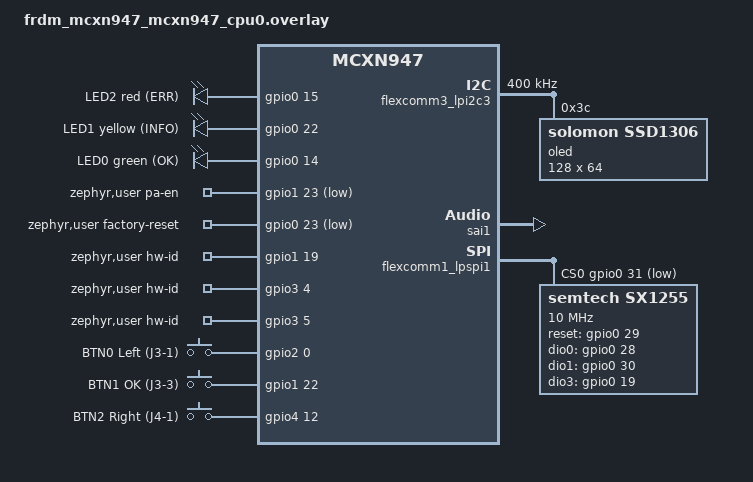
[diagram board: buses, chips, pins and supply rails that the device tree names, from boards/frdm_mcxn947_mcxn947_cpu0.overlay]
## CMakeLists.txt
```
# SPDX-License-Identifier: MIT
# Copyright (c) 2026 Phenix-1255 contributors

cmake_minimum_required(VERSION 3.20.0)

find_package(Zephyr REQUIRED HINTS $ENV{ZEPHYR_BASE})
project(phenix_1255_firmware LANGUAGES C)

# Module headers are included with their folder, e.g. "stream/stream.h"
target_include_directories(app PRIVATE
  ${CMAKE_CURRENT_SOURCE_DIR}/src
  ${CMAKE_CURRENT_SOURCE_DIR}/../common/include
)

target_sources(app PRIVATE
  src/main.c
  src/board/board_io.c
  src/board/hw_id.c
  src/board/watchdog.c
  src/config/config_store.c
  src/control/control.c
  src/display/display_fb.c
  src/display/display_ui.c
  src/display/splash_logo.c
  src/ethernet/net_config.c
  src/ethernet/transport_eth.c
  src/ethernet/web_ui.c
  src/radio/gain_ctrl.c
  src/radio/sx1255.c
  src/shell/shell_commands.c
  src/stream/sample_io.c
  src/stream/stream.c
  src/usb/transport_usb.c
)

# SRAM A..H holds the DMA buffers (SAI, Ethernet, USB) and the network
# stack. Buffers and thread stacks that only the CPU accesses are moved to
# SRAMX (96 KB, otherwise unused) to make room for the USB stack. None of
# these files may contain DMA buffers.
# The relocation script finds the object by file name and parent folder name
# and may pick a Zephyr object instead (src/shell/shell_cmds.c matched
# subsys/shell/shell_cmds.c), so file names here must not exist in Zephyr.
zephyr_code_relocate(
  FILES
    src/display/display_fb.c
    src/display/display_ui.c
    src/ethernet/transport_eth.c
    src/ethernet/web_ui.c
    src/shell/shell_commands.c
    src/stream/sample_io.c
  LOCATION SRAMX_BSS_NOINIT
)

# SAI and eDMA are driven directly by the stream module. The MCUX HAL only
# builds these drivers together with the Zephyr I2S/DMA drivers, which are
# not used here, so the HAL sources are added to the application.
set(MCUX_DRIVERS ${ZEPHYR_HAL_NXP_MODULE_DIR}/mcux/mcux-sdk-ng/drivers)
target_include_directories(app PRIVATE
  ${MCUX_DRIVERS}/sai
  ${MCUX_DRIVERS}/edma4
)
target_sources(app PRIVATE
  ${MCUX_DRIVERS}/sai/fsl_sai.c
  ${MCUX_DRIVERS}/edma4/fsl_edma.c
)
```

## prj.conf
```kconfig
# SPDX-License-Identifier: MIT
# Copyright (c) 2026 Phenix-1255 contributors

# Console, shell and logging on the MCU-Link virtual COM port.
# Log output is routed through the shell backend.
CONFIG_CONSOLE=y
CONFIG_UART_CONSOLE=y
CONFIG_SHELL=y
CONFIG_LOG=y
CONFIG_LOG_MODE_DEFERRED=y
CONFIG_LOG_BACKEND_UART=n
CONFIG_LOG_DEFAULT_LEVEL=3

# Diagnostics
CONFIG_ASSERT=y
CONFIG_THREAD_NAME=y

# Board I/O
CONFIG_GPIO=y

# SX1255 configuration interface. Register transfers are a few bytes long,
# so the CPU-driven LPSPI driver is used and no DMA channels are occupied.
CONFIG_SPI=y
CONFIG_SPI_NXP_LPSPI_DMA=n

# Floating point for signal diagnostics (thread context only)
CONFIG_FPU=y
CONFIG_FPU_SHARING=y
CONFIG_CBPRINTF_FP_SUPPORT=y

# Software reset, used to apply a new configuration
CONFIG_REBOOT=y

# Hardware watchdog (WWDT0)
CONFIG_WATCHDOG=y

# Networking: IPv4 only, TCP control channel, UDP samples
CONFIG_NETWORKING=y
CONFIG_NET_IPV4=y
CONFIG_NET_IPV6=n
CONFIG_NET_TCP=y
CONFIG_NET_UDP=y
CONFIG_NET_SOCKETS=y
CONFIG_NET_DHCPV4=y
CONFIG_NET_MGMT=y
CONFIG_NET_MGMT_EVENT=y
CONFIG_NET_MGMT_EVENT_INFO=y
CONFIG_NET_IF_UNICAST_IPV4_ADDR_COUNT=2
CONFIG_NET_MAX_CONTEXTS=12
# Connection handlers: DHCP, mDNS, UDP samples, TCP listener, TCP session,
# web interface (listener and clients)
CONFIG_NET_MAX_CONN=12
CONFIG_ZVFS_OPEN_MAX=16

# Host name and mDNS responder: phenix-1255.local
CONFIG_NET_HOSTNAME_ENABLE=y
CONFIG_NET_HOSTNAME="phenix-1255"
CONFIG_MDNS_RESPONDER=y
CONFIG_DNS_RESOLVER=y

# Network buffers for 1472-byte sample packets in both directions.
# The ENET-QOS driver uses one net_buf of NET_BUF_DATA_SIZE per RX
# descriptor; with 1536 bytes every frame fits into one descriptor, so the
# 32 descriptors absorb a burst of 32 frames (about 4 ms at 100 Mbit/s).
CONFIG_NET_BUF_DATA_SIZE=1536
CONFIG_ETH_NXP_ENET_QOS_RX_BUFFER_DESCRIPTORS=32
CONFIG_ETH_NXP_ENET_QOS_TX_BUFFER_DESCRIPTORS=16
CONFIG_ETH_NXP_ENET_QOS_RX_THREAD_PRIORITY=1
CONFIG_NET_PKT_RX_COUNT=48
CONFIG_NET_PKT_TX_COUNT=24
CONFIG_NET_BUF_RX_COUNT=64
CONFIG_NET_BUF_TX_COUNT=24

# The network RX thread is preemptive and below the RX pump: a burst of
# incoming TX sample packets would otherwise keep the cooperative thread
# busy for longer than the RX ring holds (5.6 ms at 600 kS/s).
CONFIG_NET_TC_THREAD_PREEMPTIVE=y
CONFIG_NET_TC_THREAD_PRIO_CUSTOM=y
CONFIG_NET_TC_RX_THREAD_BASE_PRIO=5

# Diagnostics on the console (net iface, net ping, ...)
CONFIG_NET_SHELL=y

# Front panel: SSD1306 OLED on LPI2C3 and three buttons.
# Input callbacks run in the reporting driver's context, which saves the
# input thread and its stack.
CONFIG_I2C=y
CONFIG_DISPLAY=y
CONFIG_INPUT=y
CONFIG_INPUT_MODE_SYNCHRONOUS=y

# HS USB device (USB1, EHCI controller), vendor specific function
CONFIG_USB_DEVICE_STACK_NEXT=y
CONFIG_USBD_THREAD_STACK_SIZE=1536

# CPU-only buffers in SRAMX, see CMakeLists.txt
CONFIG_CODE_DATA_RELOCATION=y

# Unique ID for the device serial number
CONFIG_HWINFO=y

# Persistent configuration in the internal flash settings partition
CONFIG_FLASH=y
CONFIG_FLASH_MAP=y
CONFIG_NVS=y
CONFIG_SETTINGS=y
CONFIG_SETTINGS_NVS=y
```

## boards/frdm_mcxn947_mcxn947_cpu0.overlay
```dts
/*
 * SPDX-License-Identifier: MIT
 * Copyright (c) 2026 Phenix-1255 contributors
 *
 * phenix-1255-hw SX1255 board attached to the FRDM-MCXN947.
 */

#include <nxp/mcx/mcxn/pinctrl/MCXN947VDF-pinctrl.h>
#include <zephyr/dt-bindings/input/input-event-codes.h>

/ {
	chosen {
		zephyr,code-partition = &code_partition;
		zephyr,settings-partition = &settings_partition;
		zephyr,display = &oled;
		/* The second core is not used */
		/delete-property/ zephyr,code-cpu1-partition;
	};

	aliases {
		led-err = &led_err;
		led-info = &led_info;
		led-ok = &led_ok;
		/* Red LED on the FRDM-MCXN947 (P0_10), unsupported hardware */
		led-frdm-err = &red_led;
	};

	/* Status LEDs on the phenix-1255-hw board */
	phenix_leds {
		compatible = "gpio-leds";

		led_err: led_err {
			gpios = <&gpio0 15 GPIO_ACTIVE_HIGH>;
			label = "LED2 red (ERR)";
		};

		led_info: led_info {
			gpios = <&gpio0 22 GPIO_ACTIVE_HIGH>;
			label = "LED1 yellow (INFO)";
		};

		led_ok: led_ok {
			gpios = <&gpio0 14 GPIO_ACTIVE_HIGH>;
			label = "LED0 green (OK)";
		};
	};

	zephyr,user {
		/* Gate of the P-MOSFET switching VBAT3 to the SX1255 PA */
		pa-en-gpios = <&gpio1 23 GPIO_ACTIVE_LOW>;
		/* SW2, held during boot = factory reset */
		factory-reset-gpios = <&gpio0 23 (GPIO_ACTIVE_LOW | GPIO_PULL_UP)>;
		/*
		 * HW_ID0..HW_ID2: open on phenix-1255-hw, solder jumpers to +3V3
		 * on later boards; the internal pull-downs read open pins as 0.
		 */
		hw-id-gpios = <&gpio1 19 (GPIO_ACTIVE_HIGH | GPIO_PULL_DOWN)>,
			      <&gpio3 4 (GPIO_ACTIVE_HIGH | GPIO_PULL_DOWN)>,
			      <&gpio3 5 (GPIO_ACTIVE_HIGH | GPIO_PULL_DOWN)>;
	};

	/*
	 * Front panel buttons, switched to +3V3; the internal pull-downs keep
	 * open inputs low.
	 */
	phenix_keys {
		compatible = "gpio-keys";

		btn_left: btn_left {
			gpios = <&gpio2 0 (GPIO_ACTIVE_HIGH | GPIO_PULL_DOWN)>;
			zephyr,code = <INPUT_KEY_LEFT>;
			label = "BTN0 Left (J3-1)";
		};

		btn_ok: btn_ok {
			gpios = <&gpio1 22 (GPIO_ACTIVE_HIGH | GPIO_PULL_DOWN)>;
			zephyr,code = <INPUT_KEY_ENTER>;
			label = "BTN1 OK (J3-3)";
		};

		btn_right: btn_right {
			gpios = <&gpio4 12 (GPIO_ACTIVE_HIGH | GPIO_PULL_DOWN)>;
			zephyr,code = <INPUT_KEY_RIGHT>;
			label = "BTN2 Right (J4-1)";
		};
	};
};

/*
 * SW2 is the boot-time factory reset input only (board_io.c) and SW3 is
 * not used; the board's gpio-keys node would report both as input events.
 */
&{/gpio_keys} {
	status = "disabled";
};

/*
 * The UI peripherals must never delay the sample path: their interrupts
 * run below the eDMA (0) and SAI (2) interrupts.
 */
&flexcomm3 {
	interrupts = <38 3>;
};

&gpio0 {
	interrupts = <17 3>, <18 3>;
};

&gpio1 {
	interrupts = <19 3>, <20 3>;
};

&gpio2 {
	interrupts = <21 3>, <22 3>;
};

&gpio4 {
	interrupts = <25 3>, <26 3>;
};

/* P4_12 is BTN2; the board's pinctrl would mux it as OPAMP0 input */
&opamp0 {
	status = "disabled";
};

/* The touch slider is not used; CONFIG_INPUT would start its scan timer */
&tsi0 {
	status = "disabled";
};

/*
 * 0.96" 128x64 OLED (SSD1306) on the mikroBUS I2C pins P1_0 (SDA) and
 * P1_1 (SCL). Modules label the address in 8-bit form (0x78/0x7A write,
 * 0x79/0x7B read); the module found on the bus answers at 7-bit 0x3C.
 */
&flexcomm3_lpi2c3 {
	clock-frequency = <I2C_BITRATE_FAST>;
	/*
	 * Without an idle timeout the bus busy flag stays set after boot and
	 * the HAL refuses every transfer; 10 us is far above one SCL period.
	 */
	bus-idle-timeout = <10000>;
	status = "okay";

	oled: ssd1306@3c {
		compatible = "solomon,ssd1306";
		reg = <0x3c>;
		width = <128>;
		height = <64>;
		segment-offset = <0>;
		page-offset = <0>;
		display-offset = <0>;
		multiplex-ratio = <63>;
		segment-remap;
		com-invdir;
		prechargep = <0x22>;
	};
};

&pinctrl {
	/* LPSPI1 without the hardware PCS on P0_27 (on-board green LED) */
	pinmux_phenix_lpspi1: pinmux_phenix_lpspi1 {
		group0 {
			pinmux = <FC1_P0_PIO0_24>,	/* SDO  -> SX1255 SDI (MOSI) */
				 <FC1_P1_PIO0_25>,	/* SCK  -> SX1255 SCK */
				 <FC1_P2_PIO0_26>;	/* SDI  <- SX1255 SDO (MISO) */
			slew-rate = "fast";
			drive-strength = "low";
			input-enable;
		};
	};

	/*
	 * SAI1 I/Q interface. The SX1255 is bit clock and frame sync controller;
	 * TX runs synchronous to RX, so TX_BCLK/TX_FS (P3_16/P3_17) are unused.
	 */
	pinmux_phenix_sai1: pinmux_phenix_sai1 {
		group0 {
			pinmux = <SAI1_RX_BCLK_PIO3_18>,	/* <- CK_OUT */
				 <SAI1_RX_FS_PIO3_19>,		/* <- DIO2/WS */
				 <SAI1_TXD0_PIO3_20>,		/* -> I_IN */
				 <SAI1_RXD0_PIO3_21>;		/* <- I_OUT */
			drive-strength = "high";
			slew-rate = "fast";
			input-enable;
		};
	};
};

/*
 * SAI1 and eDMA0 are driven directly by the stream module (circular eDMA,
 * sample counter). Status "okay" lets the board code enable the SAI1
 * clock; the Zephyr I2S and DMA drivers are not enabled.
 */
&sai1 {
	pinctrl-0 = <&pinmux_phenix_sai1>;
	pinctrl-names = "default";
	status = "okay";
};

&flexcomm1_lpspi1 {
	pinctrl-0 = <&pinmux_phenix_lpspi1>;
	pinctrl-names = "default";
	cs-gpios = <&gpio0 31 GPIO_ACTIVE_LOW>;
	status = "okay";

	sx1255: sx1255@0 {
		compatible = "semtech,sx1255";
		reg = <0>;
		spi-max-frequency = <10000000>;
		clock-frequency = <38400000>;
		reset-gpios = <&gpio0 29 GPIO_ACTIVE_HIGH>;
		dio0-gpios = <&gpio0 28 GPIO_ACTIVE_HIGH>;
		dio1-gpios = <&gpio0 30 GPIO_ACTIVE_HIGH>;
		dio3-gpios = <&gpio0 19 GPIO_ACTIVE_HIGH>;
	};
};

/* The second core is not used: give all of SRAM A..H (416 KB) to cpu0 */
&sram0 {
	reg = <0x20000000 DT_SIZE_K(416)>;
};

/* Stable MAC address derived from the MCU unique ID (locally administered) */
&enet {
	/delete-property/ zephyr,random-mac-address;
	nxp,unique-mac;
};

/*
 * Internal flash layout. MCUboot is not used, so the board's MCUboot
 * partitions are replaced by one code partition and a settings partition
 * at the end of the internal flash.
 */
&flash {
	/delete-node/ partitions;

	partitions {
		compatible = "fixed-partitions";
		#address-cells = <1>;
		#size-cells = <1>;

		code_partition: partition@0 {
			label = "code";
			reg = <0x00000000 DT_SIZE_K(1984)>;
		};

		settings_partition: partition@1f0000 {
			label = "settings";
			reg = <0x001f0000 DT_SIZE_K(64)>;
		};
	};
};
```

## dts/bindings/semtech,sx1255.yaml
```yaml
# SPDX-License-Identifier: MIT
# Copyright (c) 2026 Phenix-1255 contributors

description: |
  Semtech SX1255 RF transceiver, SPI configuration interface.

  The I/Q sample interface (CK_OUT, DIO2/WS, I_OUT, I_IN) is connected to a
  SAI peripheral and described separately.

compatible: "semtech,sx1255"

include: spi-device.yaml

properties:
  clock-frequency:
    type: int
    required: true
    description: Reference oscillator frequency in Hz.

  reset-gpios:
    type: phandle-array
    required: true
    description: |
      RESET pin. Released (high impedance) during normal operation,
      driven high for at least 100 us to reset the chip.

  dio0-gpios:
    type: phandle-array
    description: DIO0 input.

  dio1-gpios:
    type: phandle-array
    description: DIO1 input.

  dio3-gpios:
    type: phandle-array
    description: DIO3 input.
```

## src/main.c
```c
/*
 * SPDX-License-Identifier: MIT
 * Copyright (c) 2026 Phenix-1255 contributors
 */

#include <zephyr/kernel.h>
#include <zephyr/logging/log.h>
#include <zephyr/version.h>
#include <zephyr/app_version.h>

#include "board/board_io.h"
#include "board/hw_id.h"
#include "board/watchdog.h"
#include "config/config_store.h"
#include "control/control.h"
#include "display/display_ui.h"
#include "ethernet/net_config.h"
#include "ethernet/transport_eth.h"
#include "ethernet/web_ui.h"
#include "radio/gain_ctrl.h"
#include "radio/sx1255.h"
#include "stream/sample_io.h"
#include "stream/stream.h"
#include "usb/transport_usb.h"

LOG_MODULE_REGISTER(main, LOG_LEVEL_INF);

/* LED pattern shown after a factory reset */
#define FACTORY_RESET_INDICATION K_SECONDS(2)

int main(void)
{
	struct phenix_net_cfg net_cfg;
	bool factory_reset;
	int ret;

	LOG_INF("Phenix-1255 firmware %s (Zephyr %s)", APP_VERSION_EXTENDED_STRING,
		KERNEL_VERSION_STRING);

	/*
	 * Before any other pin is driven: on unknown hardware only the early
	 * PA_EN shutdown and the error screen on the display (whose driver is
	 * already initialized) touch the board.
	 */
	if (hw_id_init() < 0) {
		display_ui_show_hw_error();
		hw_id_halt();
	}

	ret = board_io_init();
	if (ret < 0) {
		LOG_ERR("Board I/O init failed (%d)", ret);
		return ret;
	}

	ret = watchdog_init();
	if (ret < 0) {
		board_led_set(BOARD_LED_ERR, BOARD_LED_ON);
	} else if (watchdog_caused_reset()) {
		/* Signal the watchdog reset until the next successful stream start */
		board_led_set(BOARD_LED_ERR, BOARD_LED_BLINK_SLOW);
	}

	factory_reset = board_io_factory_reset_requested();

	ret = config_store_init(factory_reset);
	if (ret < 0) {
		LOG_ERR("Configuration store init failed (%d), using defaults", ret);
		board_led_set(BOARD_LED_ERR, BOARD_LED_ON);
	}

	if (factory_reset) {
		/* All LEDs blink fast to acknowledge the reset */
		board_led_set(BOARD_LED_ERR, BOARD_LED_BLINK_FAST);
		board_led_set(BOARD_LED_INFO, BOARD_LED_BLINK_FAST);
		board_led_set(BOARD_LED_OK, BOARD_LED_BLINK_FAST);
		k_sleep(FACTORY_RESET_INDICATION);
		board_led_set(BOARD_LED_ERR, BOARD_LED_OFF);
		board_led_set(BOARD_LED_INFO, BOARD_LED_OFF);
	}

	ret = sx1255_init();
	if (ret < 0) {
		LOG_ERR("SX1255 init failed (%d)", ret);
		board_led_set(BOARD_LED_ERR, BOARD_LED_ON);
	}
	gain_ctrl_init();

	ret = stream_init();
	if (ret < 0) {
		LOG_ERR("Stream init failed (%d)", ret);
		board_led_set(BOARD_LED_ERR, BOARD_LED_ON);
	}

	control_init();
	sample_io_init();

	/* Ethernet is always configured: the web interface runs in both modes */
	config_store_get_net(&net_cfg);
	ret = net_config_start(&net_cfg);
	if (ret < 0) {
		LOG_ERR("Network configuration failed (%d)", ret);
	}
	web_ui_start();
	display_ui_start();

	/* Switching the link at runtime is not supported; it applies after a reboot */
	if (config_store_boot_link() == PHENIX_LINK_ETHERNET) {
		LOG_INF("Host link: Ethernet");
		transport_eth_start(net_cfg.ctrl_port, net_cfg.sample_port);
	} else {
		LOG_INF("Host link: HS USB");
		ret = transport_usb_start();
		if (ret < 0) {
			board_led_set(BOARD_LED_ERR, BOARD_LED_ON);
		}
	}

	/* Ready, no host connected */
	board_led_set(BOARD_LED_OK, BOARD_LED_BLINK_SLOW);

	return 0;
}
```
